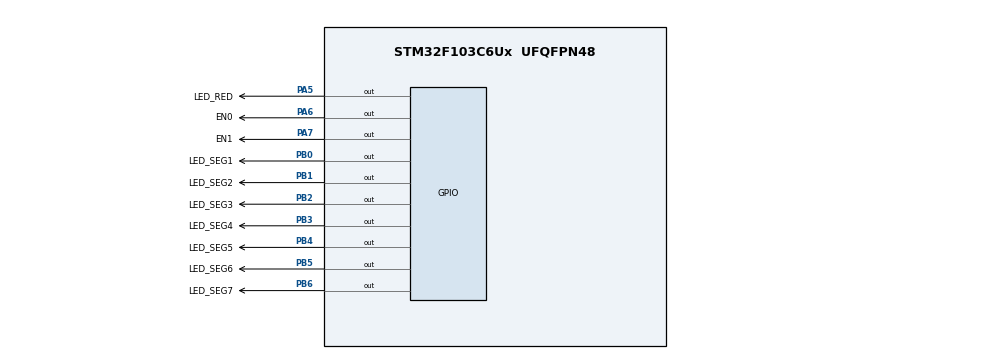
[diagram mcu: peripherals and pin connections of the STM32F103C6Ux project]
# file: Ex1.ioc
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Mcu.Family=STM32F1
Mcu.Name=STM32F103C6Ux
Mcu.Package=UFQFPN48
NVIC.PriorityGroup=NVIC_PRIORITYGROUP_4
NVIC.TIM2_IRQn=true\:0\:0\:false\:false\:true\:true\:true
PA5.GPIO_Label=LED_RED
PA5.Signal=GPIO_Output
PA6.GPIO_Label=EN0
PA6.Signal=GPIO_Output
PA7.GPIO_Label=EN1
PA7.Signal=GPIO_Output
PB0.GPIO_Label=LED_SEG1
PB0.Signal=GPIO_Output
PB1.GPIO_Label=LED_SEG2
PB1.Signal=GPIO_Output
PB2.GPIO_Label=LED_SEG3
PB2.Signal=GPIO_Output
PB3.GPIO_Label=LED_SEG4
PB3.Signal=GPIO_Output
PB4.GPIO_Label=LED_SEG5
PB4.Signal=GPIO_Output
PB5.GPIO_Label=LED_SEG6
PB5.Signal=GPIO_Output
PB6.GPIO_Label=LED_SEG7
PB6.Signal=GPIO_Output
ProjectManager.HeapSize=0x200
ProjectManager.StackSize=0x400
ProjectManager.TargetToolchain=STM32CubeIDE
RCC.APB1Freq_Value=8000000
RCC.APB2Freq_Value=8000000
TIM2.Period=9
TIM2.Prescaler=7999
VP_SYS_VS_ND.Mode=No_Debug
VP_TIM2_VS_ClockSourceINT.Mode=Internal
board=custom

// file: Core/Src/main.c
/* USER CODE BEGIN Header */
/**
  ******************************************************************************
  * @file           : main.c
  * @brief          : Main program body
  ******************************************************************************
  * @attention
  *
  * <h2><center>&copy; Copyright (c) 2022 STMicroelectronics.
  * All rights reserved.</center></h2>
  *
  * This software component is licensed by ST under BSD 3-Clause license,
  * the "License"; You may not use this file except in compliance with the
  * License. You may obtain a copy of the License at:
  *                        opensource.org/licenses/BSD-3-Clause
  *
  ******************************************************************************
  */
/* USER CODE END Header */
#include "main.h"

/* USER CODE BEGIN Includes */
#include "timer.h"
/* USER CODE END Includes */

TIM_HandleTypeDef htim2;

void SystemClock_Config(void);
static void MX_GPIO_Init(void);
static void MX_TIM2_Init(void);

/* USER CODE BEGIN 0 */
void display7SEG(int num){
	if(num==0){
		HAL_GPIO_WritePin(LED_SEG1_GPIO_Port, LED_SEG1_Pin, 0);
		HAL_GPIO_WritePin(LED_SEG2_GPIO_Port, LED_SEG2_Pin, 0);
		HAL_GPIO_WritePin(LED_SEG3_GPIO_Port, LED_SEG3_Pin, 0);
		HAL_GPIO_WritePin(LED_SEG4_GPIO_Port, LED_SEG4_Pin, 0);
		HAL_GPIO_WritePin(LED_SEG5_GPIO_Port, LED_SEG5_Pin, 0);
		HAL_GPIO_WritePin(LED_SEG6_GPIO_Port, LED_SEG6_Pin, 0);
		HAL_GPIO_WritePin(LED_SEG7_GPIO_Port, LED_SEG7_Pin, 1);
	}
	if(num==1){
		HAL_GPIO_WritePin(LED_SEG1_GPIO_Port, LED_SEG1_Pin, 1);
		HAL_GPIO_WritePin(LED_SEG2_GPIO_Port, LED_SEG2_Pin, 0);
		HAL_GPIO_WritePin(LED_SEG3_GPIO_Port, LED_SEG3_Pin, 0);
		HAL_GPIO_WritePin(LED_SEG4_GPIO_Port, LED_SEG4_Pin, 1);
		HAL_GPIO_WritePin(LED_SEG5_GPIO_Port, LED_SEG5_Pin, 1);
		HAL_GPIO_WritePin(LED_SEG6_GPIO_Port, LED_SEG6_Pin, 1);
		HAL_GPIO_WritePin(LED_SEG7_GPIO_Port, LED_SEG7_Pin, 1);
	}
	if(num==2){
		HAL_GPIO_WritePin(LED_SEG1_GPIO_Port, LED_SEG1_Pin, 0);
		HAL_GPIO_WritePin(LED_SEG2_GPIO_Port, LED_SEG2_Pin, 0);
		HAL_GPIO_WritePin(LED_SEG3_GPIO_Port, LED_SEG3_Pin, 1);
		HAL_GPIO_WritePin(LED_SEG4_GPIO_Port, LED_SEG4_Pin, 0);
		HAL_GPIO_WritePin(LED_SEG5_GPIO_Port, LED_SEG5_Pin, 0);
		HAL_GPIO_WritePin(LED_SEG6_GPIO_Port, LED_SEG6_Pin, 1);
		HAL_GPIO_WritePin(LED_SEG7_GPIO_Port, LED_SEG7_Pin, 0);
	}
	if(num==3){
		HAL_GPIO_WritePin(LED_SEG1_GPIO_Port, LED_SEG1_Pin, 0);
		HAL_GPIO_WritePin(LED_SEG2_GPIO_Port, LED_SEG2_Pin, 0);
		HAL_GPIO_WritePin(LED_SEG3_GPIO_Port, LED_SEG3_Pin, 0);
		HAL_GPIO_WritePin(LED_SEG4_GPIO_Port, LED_SEG4_Pin, 0);
		HAL_GPIO_WritePin(LED_SEG5_GPIO_Port, LED_SEG5_Pin, 1);
		HAL_GPIO_WritePin(LED_SEG6_GPIO_Port, LED_SEG6_Pin, 1);
		HAL_GPIO_WritePin(LED_SEG7_GPIO_Port, LED_SEG7_Pin, 0);
	}
	if(num==4){
		HAL_GPIO_WritePin(LED_SEG1_GPIO_Port, LED_SEG1_Pin, 1);
		HAL_GPIO_WritePin(LED_SEG2_GPIO_Port, LED_SEG2_Pin, 0);
		HAL_GPIO_WritePin(LED_SEG3_GPIO_Port, LED_SEG3_Pin, 0);
		HAL_GPIO_WritePin(LED_SEG4_GPIO_Port, LED_SEG4_Pin, 1);
		HAL_GPIO_WritePin(LED_SEG5_GPIO_Port, LED_SEG5_Pin, 1);
		HAL_GPIO_WritePin(LED_SEG6_GPIO_Port, LED_SEG6_Pin, 0);
		HAL_GPIO_WritePin(LED_SEG7_GPIO_Port, LED_SEG7_Pin, 0);
	}
	if(num==5){
		HAL_GPIO_WritePin(LED_SEG1_GPIO_Port, LED_SEG1_Pin, 0);
		HAL_GPIO_WritePin(LED_SEG2_GPIO_Port, LED_SEG2_Pin, 1);
		HAL_GPIO_WritePin(LED_SEG3_GPIO_Port, LED_SEG3_Pin, 0);
		HAL_GPIO_WritePin(LED_SEG4_GPIO_Port, LED_SEG4_Pin, 0);
		HAL_GPIO_WritePin(LED_SEG5_GPIO_Port, LED_SEG5_Pin, 1);
		HAL_GPIO_WritePin(LED_SEG6_GPIO_Port, LED_SEG6_Pin, 0);
		HAL_GPIO_WritePin(LED_SEG7_GPIO_Port, LED_SEG7_Pin, 0);
	}
	if(num==6){
		HAL_GPIO_WritePin(LED_SEG1_GPIO_Port, LED_SEG1_Pin, 0);
		HAL_GPIO_WritePin(LED_SEG2_GPIO_Port, LED_SEG2_Pin, 1);
		HAL_GPIO_WritePin(LED_SEG3_GPIO_Port, LED_SEG3_Pin, 0);
		HAL_GPIO_WritePin(LED_SEG4_GPIO_Port, LED_SEG4_Pin, 0);
		HAL_GPIO_WritePin(LED_SEG5_GPIO_Port, LED_SEG5_Pin, 0);
		HAL_GPIO_WritePin(LED_SEG6_GPIO_Port, LED_SEG6_Pin, 0);
		HAL_GPIO_WritePin(LED_SEG7_GPIO_Port, LED_SEG7_Pin, 0);
	}
	if(num==7){
		HAL_GPIO_WritePin(LED_SEG1_GPIO_Port, LED_SEG1_Pin, 0);
		HAL_GPIO_WritePin(LED_SEG2_GPIO_Port, LED_SEG2_Pin, 0);
		HAL_GPIO_WritePin(LED_SEG3_GPIO_Port, LED_SEG3_Pin, 0);
		HAL_GPIO_WritePin(LED_SEG4_GPIO_Port, LED_SEG4_Pin, 1);
		HAL_GPIO_WritePin(LED_SEG5_GPIO_Port, LED_SEG5_Pin, 1);
		HAL_GPIO_WritePin(LED_SEG6_GPIO_Port, LED_SEG6_Pin, 1);
		HAL_GPIO_WritePin(LED_SEG7_GPIO_Port, LED_SEG7_Pin, 1);
	}
	if(num==8){
		HAL_GPIO_WritePin(LED_SEG1_GPIO_Port, LED_SEG1_Pin, 0);
		HAL_GPIO_WritePin(LED_SEG2_GPIO_Port, LED_SEG2_Pin, 0);
		HAL_GPIO_WritePin(LED_SEG3_GPIO_Port, LED_SEG3_Pin, 0);
		HAL_GPIO_WritePin(LED_SEG4_GPIO_Port, LED_SEG4_Pin, 0);
		HAL_GPIO_WritePin(LED_SEG5_GPIO_Port, LED_SEG5_Pin, 0);
		HAL_GPIO_WritePin(LED_SEG6_GPIO_Port, LED_SEG6_Pin, 0);
		HAL_GPIO_WritePin(LED_SEG7_GPIO_Port, LED_SEG7_Pin, 0);
	}
	if(num==9){
		HAL_GPIO_WritePin(LED_SEG1_GPIO_Port, LED_SEG1_Pin, 0);
		HAL_GPIO_WritePin(LED_SEG2_GPIO_Port, LED_SEG2_Pin, 0);
		HAL_GPIO_WritePin(LED_SEG3_GPIO_Port, LED_SEG3_Pin, 0);
		HAL_GPIO_WritePin(LED_SEG4_GPIO_Port, LED_SEG4_Pin, 0);
		HAL_GPIO_WritePin(LED_SEG5_GPIO_Port, LED_SEG5_Pin, 1);
		HAL_GPIO_WritePin(LED_SEG6_GPIO_Port, LED_SEG6_Pin, 0);
		HAL_GPIO_WritePin(LED_SEG7_GPIO_Port, LED_SEG7_Pin, 0);
	}
}
/* USER CODE END 0 */

int main(void)
{

  /* MCU Configuration--------------------------------------------------------*/

  /* Reset of all peripherals, Initializes the Flash interface and the Systick. */
  HAL_Init();

  /* Configure the system clock */
  SystemClock_Config();

  /* Initialize all configured peripherals */
  MX_GPIO_Init();
  MX_TIM2_Init();
  /* USER CODE BEGIN 2 */
  HAL_TIM_Base_Start_IT(& htim2);
  /* USER CODE END 2 */

  /* Infinite loop */
  /* USER CODE BEGIN WHILE */
  setTimer1(100);
  HAL_GPIO_WritePin(EN0_GPIO_Port, EN0_Pin, RESET);
  HAL_GPIO_WritePin(EN1_GPIO_Port, EN1_Pin, SET);
  while (1)
  {
	  if(timer1_flag==1){
		  setTimer1(100);
		  HAL_GPIO_TogglePin(LED_RED_GPIO_Port, LED_RED_Pin);
	  }
    /* USER CODE END WHILE */

  }
}

void SystemClock_Config(void)
{
  RCC_OscInitTypeDef RCC_OscInitStruct = {0};
  RCC_ClkInitTypeDef RCC_ClkInitStruct = {0};

  /** Initializes the RCC Oscillators according to the specified parameters
  * in the RCC_OscInitTypeDef structure.
  */
  RCC_OscInitStruct.OscillatorType = RCC_OSCILLATORTYPE_HSI;
  RCC_OscInitStruct.HSIState = RCC_HSI_ON;
  RCC_OscInitStruct.HSICalibrationValue = RCC_HSICALIBRATION_DEFAULT;
  RCC_OscInitStruct.PLL.PLLState = RCC_PLL_NONE;
  if (HAL_RCC_OscConfig(&RCC_OscInitStruct) != HAL_OK)
  {
    Error_Handler();
  }
  /** Initializes the CPU, AHB and APB buses clocks
  */
  RCC_ClkInitStruct.ClockType = RCC_CLOCKTYPE_HCLK|RCC_CLOCKTYPE_SYSCLK
                              |RCC_CLOCKTYPE_PCLK1|RCC_CLOCKTYPE_PCLK2;
  RCC_ClkInitStruct.SYSCLKSource = RCC_SYSCLKSOURCE_HSI;
  RCC_ClkInitStruct.AHBCLKDivider = RCC_SYSCLK_DIV1;
  RCC_ClkInitStruct.APB1CLKDivider = RCC_HCLK_DIV1;
  RCC_ClkInitStruct.APB2CLKDivider = RCC_HCLK_DIV1;

  if (HAL_RCC_ClockConfig(&RCC_ClkInitStruct, FLASH_LATENCY_0) != HAL_OK)
  {
    Error_Handler();
  }
}

static void MX_TIM2_Init(void)
{

  TIM_ClockConfigTypeDef sClockSourceConfig = {0};
  TIM_MasterConfigTypeDef sMasterConfig = {0};

  htim2.Instance = TIM2;
  htim2.Init.Prescaler = 7999;
  htim2.Init.CounterMode = TIM_COUNTERMODE_UP;
  htim2.Init.Period = 9;
  htim2.Init.ClockDivision = TIM_CLOCKDIVISION_DIV1;
  htim2.Init.AutoReloadPreload = TIM_AUTORELOAD_PRELOAD_DISABLE;
  if (HAL_TIM_Base_Init(&htim2) != HAL_OK)
  {
    Error_Handler();
  }
  sClockSourceConfig.ClockSource = TIM_CLOCKSOURCE_INTERNAL;
  if (HAL_TIM_ConfigClockSource(&htim2, &sClockSourceConfig) != HAL_OK)
  {
    Error_Handler();
  }
  sMasterConfig.MasterOutputTrigger = TIM_TRGO_RESET;
  sMasterConfig.MasterSlaveMode = TIM_MASTERSLAVEMODE_DISABLE;
  if (HAL_TIMEx_MasterConfigSynchronization(&htim2, &sMasterConfig) != HAL_OK)
  {
    Error_Handler();
  }

}

static void MX_GPIO_Init(void)
{
  GPIO_InitTypeDef GPIO_InitStruct = {0};

  /* GPIO Ports Clock Enable */
  __HAL_RCC_GPIOA_CLK_ENABLE();
  __HAL_RCC_GPIOB_CLK_ENABLE();

  /*Configure GPIO pin Output Level */
  HAL_GPIO_WritePin(GPIOA, LED_RED_Pin|EN0_Pin|EN1_Pin, GPIO_PIN_RESET);

  /*Configure GPIO pin Output Level */
  HAL_GPIO_WritePin(GPIOB, LED_SEG1_Pin|LED_SEG2_Pin|LED_SEG3_Pin|LED_SEG4_Pin
                          |LED_SEG5_Pin|LED_SEG6_Pin|LED_SEG7_Pin, GPIO_PIN_RESET);

  /*Configure GPIO pins : LED_RED_Pin EN0_Pin EN1_Pin */
  GPIO_InitStruct.Pin = LED_RED_Pin|EN0_Pin|EN1_Pin;
  GPIO_InitStruct.Mode = GPIO_MODE_OUTPUT_PP;
  GPIO_InitStruct.Pull = GPIO_NOPULL;
  GPIO_InitStruct.Speed = GPIO_SPEED_FREQ_LOW;
  HAL_GPIO_Init(GPIOA, &GPIO_InitStruct);

  /*Configure GPIO pins : LED_SEG1_Pin LED_SEG2_Pin LED_SEG3_Pin LED_SEG4_Pin
                           LED_SEG5_Pin LED_SEG6_Pin LED_SEG7_Pin */
  GPIO_InitStruct.Pin = LED_SEG1_Pin|LED_SEG2_Pin|LED_SEG3_Pin|LED_SEG4_Pin
                          |LED_SEG5_Pin|LED_SEG6_Pin|LED_SEG7_Pin;
  GPIO_InitStruct.Mode = GPIO_MODE_OUTPUT_PP;
  GPIO_InitStruct.Pull = GPIO_NOPULL;
  GPIO_InitStruct.Speed = GPIO_SPEED_FREQ_LOW;
  HAL_GPIO_Init(GPIOB, &GPIO_InitStruct);

}

/* USER CODE BEGIN 4 */
int counter = 50;
int status=1;
void HAL_TIM_PeriodElapsedCallback(TIM_HandleTypeDef * htim){
	if(counter>0){
		counter--;
		if(counter==0){
			if(status==1){
				HAL_GPIO_WritePin(EN0_GPIO_Port, EN0_Pin, SET);
				HAL_GPIO_WritePin(EN1_GPIO_Port, EN1_Pin, RESET);
			}
			if(status==2){
				HAL_GPIO_WritePin(EN0_GPIO_Port, EN0_Pin, RESET);
				HAL_GPIO_WritePin(EN1_GPIO_Port, EN1_Pin, SET);
			}
			status++;
			if(status>=3){status=1;}
			counter=50;
		}
	}
	display7SEG(status);
	timerRun();
}
/* USER CODE END 4 */

void Error_Handler(void)
{
  __disable_irq();
  while (1)
  {
  }
}

/************************ (C) COPYRIGHT STMicroelectronics *****END OF FILE****/
